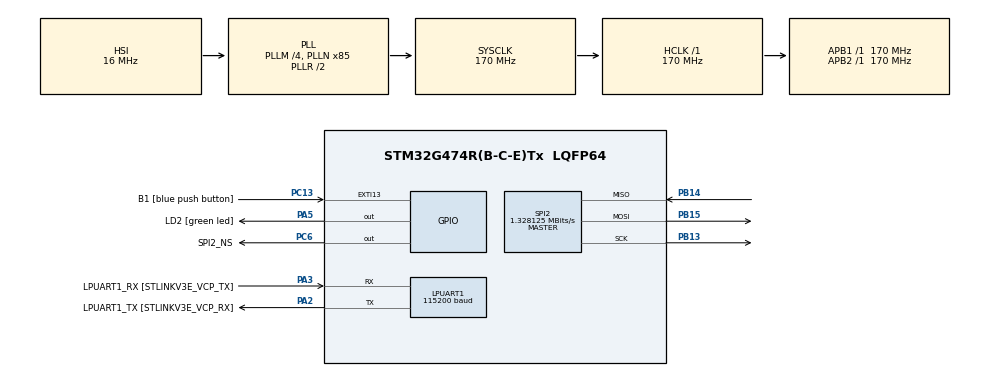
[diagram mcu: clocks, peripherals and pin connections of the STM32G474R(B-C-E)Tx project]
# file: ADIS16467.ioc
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LPUART1.BaudRate=115200
LPUART1.WordLength=UART_WORDLENGTH_8B
Mcu.Family=STM32G4
Mcu.Name=STM32G474R(B-C-E)Tx
Mcu.Package=LQFP64
NVIC.EXTI15_10_IRQn=true\:0\:0\:false\:false\:true\:true\:true\:true
NVIC.PriorityGroup=NVIC_PRIORITYGROUP_4
PA13.GPIO_Label=T_SWDIO
PA13.Mode=Serial_Wire
PA13.Signal=SYS_JTMS-SWDIO
PA14.GPIO_Label=T_SWCLK
PA14.Mode=Serial_Wire
PA14.Signal=SYS_JTCK-SWCLK
PA2.GPIO_Label=LPUART1_TX [STLINKV3E_VCP_RX]
PA2.Mode=Asynchronous
PA2.Signal=LPUART1_TX
PA3.GPIO_Label=LPUART1_RX [STLINKV3E_VCP_TX]
PA3.Mode=Asynchronous
PA3.Signal=LPUART1_RX
PA5.GPIO_Label=LD2 [green led]
PA5.Signal=GPIO_Output
PB13.Mode=Full_Duplex_Master
PB13.Signal=SPI2_SCK
PB14.Mode=Full_Duplex_Master
PB14.Signal=SPI2_MISO
PB15.Mode=Full_Duplex_Master
PB15.Signal=SPI2_MOSI
PC13.GPIO_Label=B1 [blue push button]
PC13.Signal=GPXTI13
PC6.GPIO_Label=SPI2_NS
PC6.GPIO_PuPd=GPIO_PULLUP
PC6.GPIO_Speed=GPIO_SPEED_FREQ_HIGH
PC6.Signal=GPIO_Output
PF0-OSC_IN.Mode=HSE-External-Oscillator
PF0-OSC_IN.Signal=RCC_OSC_IN
PF1-OSC_OUT.Mode=HSE-External-Oscillator
PF1-OSC_OUT.Signal=RCC_OSC_OUT
ProjectManager.HeapSize=0x200
ProjectManager.StackSize=0x400
ProjectManager.TargetToolchain=STM32CubeIDE
RCC.ADC12Freq_Value=170000000
RCC.ADC345Freq_Value=170000000
RCC.AHBFreq_Value=170000000
RCC.APB1Freq_Value=170000000
RCC.APB1TimFreq_Value=170000000
RCC.APB2Freq_Value=170000000
RCC.APB2TimFreq_Value=170000000
RCC.CortexFreq_Value=170000000
RCC.EXTERNAL_CLOCK_VALUE=12288000
RCC.HCLKFreq_Value=170000000
RCC.HSE_VALUE=24000000
RCC.HSI48_VALUE=48000000
RCC.HSI_VALUE=16000000
RCC.LSE_VALUE=32768
RCC.PLLM=RCC_PLLM_DIV4
RCC.PLLN=85
RCC.RTCClockSelection=RCC_RTCCLKSOURCE_LSE
RCC.SYSCLKFreq_VALUE=170000000
RCC.SYSCLKSource=RCC_SYSCLKSOURCE_PLLCLK
RCC.USBFreq_Value=170000000
RCC.VCOOutputFreq_Value=340000000
SPI2.BaudRatePrescaler=SPI_BAUDRATEPRESCALER_128
SPI2.CLKPhase=SPI_PHASE_2EDGE
SPI2.CLKPolarity=SPI_POLARITY_HIGH
SPI2.CalculateBaudRate=1.328125 MBits/s
SPI2.DataSize=SPI_DATASIZE_16BIT
SPI2.Direction=SPI_DIRECTION_2LINES
SPI2.Mode=SPI_MODE_MASTER
SPI2.VirtualType=VM_MASTER
STMicroelectronics.X-CUBE-ALGOBUILD.1.3.0.LibraryCcDSPOoLibraryJjDSPOoLibrary=true
VP_STMicroelectronics.X-CUBE-ALGOBUILD_VS_DSPOoLibraryJjLibrary_1.3.0_1.3.0.Mode=DSPOoLibraryJjLibrary
VP_SYS_VS_DBSignals.Mode=DisableDeadBatterySignals
board=NUCLEO-G474RE

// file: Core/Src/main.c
/* USER CODE BEGIN Header */
/**
  ******************************************************************************
  * @file           : main.c
  * @brief          : Main program body
  ******************************************************************************
  * @attention
  *
  * Copyright (c) 2024 STMicroelectronics.
  * All rights reserved.
  *
  * This software is licensed under terms that can be found in the LICENSE file
  * in the root directory of this software component.
  * If no LICENSE file comes with this software, it is provided AS-IS.
  *
  ******************************************************************************
  */
/* USER CODE END Header */
#include "main.h"
#include "usart.h"
#include "spi.h"
#include "gpio.h"

/* USER CODE BEGIN Includes */
#include "ADIS16467-2.h"
#include "stdio.h"
#include "retarget.h"
/* USER CODE END Includes */

/* USER CODE BEGIN PV */
ADIS16467_T imu = {.hspi = &hspi2, .GPIOx=GPIOC, .GPIO_PIN=GPIO_PIN_6};
/* USER CODE END PV */

void SystemClock_Config(void);

int main(void) {

    /* MCU Configuration--------------------------------------------------------*/

    /* Reset of all peripherals, Initializes the Flash interface and the Systick. */
    HAL_Init();

    /* Configure the system clock */
    SystemClock_Config();

    /* Initialize all configured peripherals */
    MX_GPIO_Init();
    MX_LPUART1_UART_Init();
    MX_SPI2_Init();
    /* USER CODE BEGIN 2 */
    RetargetInit(&hlpuart1);
    ADIS16467_Init(&imu);
    ADIS16467_Check(&imu);
    ADIS16467_imuInfo(&imu);
    /* USER CODE END 2 */

    /* Infinite loop */
    /* USER CODE BEGIN WHILE */
    while (1) {
        ADIS16467_Read_Temp(&imu);
        ADIS16467_Read_Accel(&imu);
        ADIS16467_Read_Gyro(&imu);
        ADIS16467_Read_DeltaAngle(&imu);
        printf("%f,%f,%f,%f,%f,%f,%f,%f,%f\n", \
        imu.ADIS_Accel.HP_Accel_X, imu.ADIS_Accel.HP_Accel_Y, imu.ADIS_Accel.HP_Accel_Z, \
        imu.ADIS_Gyro.HP_Gyro_X, imu.ADIS_Gyro.HP_Gyro_Y, imu.ADIS_Gyro.HP_Gyro_Z, \
        imu.ADIS_DeltaAng.HP_DeltaAngle_X, imu.ADIS_DeltaAng.HP_DeltaAngle_Y, imu.ADIS_DeltaAng.HP_DeltaAngle_Z);

        /* USER CODE END WHILE */

    }
}

void SystemClock_Config(void) {
    RCC_OscInitTypeDef RCC_OscInitStruct = {0};
    RCC_ClkInitTypeDef RCC_ClkInitStruct = {0};

    /** Configure the main internal regulator output voltage
    */
    HAL_PWREx_ControlVoltageScaling(PWR_REGULATOR_VOLTAGE_SCALE1_BOOST);

    /** Initializes the RCC Oscillators according to the specified parameters
    * in the RCC_OscInitTypeDef structure.
    */
    RCC_OscInitStruct.OscillatorType = RCC_OSCILLATORTYPE_HSI;
    RCC_OscInitStruct.HSIState = RCC_HSI_ON;
    RCC_OscInitStruct.HSICalibrationValue = RCC_HSICALIBRATION_DEFAULT;
    RCC_OscInitStruct.PLL.PLLState = RCC_PLL_ON;
    RCC_OscInitStruct.PLL.PLLSource = RCC_PLLSOURCE_HSI;
    RCC_OscInitStruct.PLL.PLLM = RCC_PLLM_DIV4;
    RCC_OscInitStruct.PLL.PLLN = 85;
    RCC_OscInitStruct.PLL.PLLP = RCC_PLLP_DIV2;
    RCC_OscInitStruct.PLL.PLLQ = RCC_PLLQ_DIV2;
    RCC_OscInitStruct.PLL.PLLR = RCC_PLLR_DIV2;
    if (HAL_RCC_OscConfig(&RCC_OscInitStruct) != HAL_OK) {
        Error_Handler();
    }

    /** Initializes the CPU, AHB and APB buses clocks
    */
    RCC_ClkInitStruct.ClockType = RCC_CLOCKTYPE_HCLK | RCC_CLOCKTYPE_SYSCLK
                                  | RCC_CLOCKTYPE_PCLK1 | RCC_CLOCKTYPE_PCLK2;
    RCC_ClkInitStruct.SYSCLKSource = RCC_SYSCLKSOURCE_PLLCLK;
    RCC_ClkInitStruct.AHBCLKDivider = RCC_SYSCLK_DIV1;
    RCC_ClkInitStruct.APB1CLKDivider = RCC_HCLK_DIV1;
    RCC_ClkInitStruct.APB2CLKDivider = RCC_HCLK_DIV1;

    if (HAL_RCC_ClockConfig(&RCC_ClkInitStruct, FLASH_LATENCY_4) != HAL_OK) {
        Error_Handler();
    }
}

void Error_Handler(void) {
    __disable_irq();
    while (1) {
    }
}
